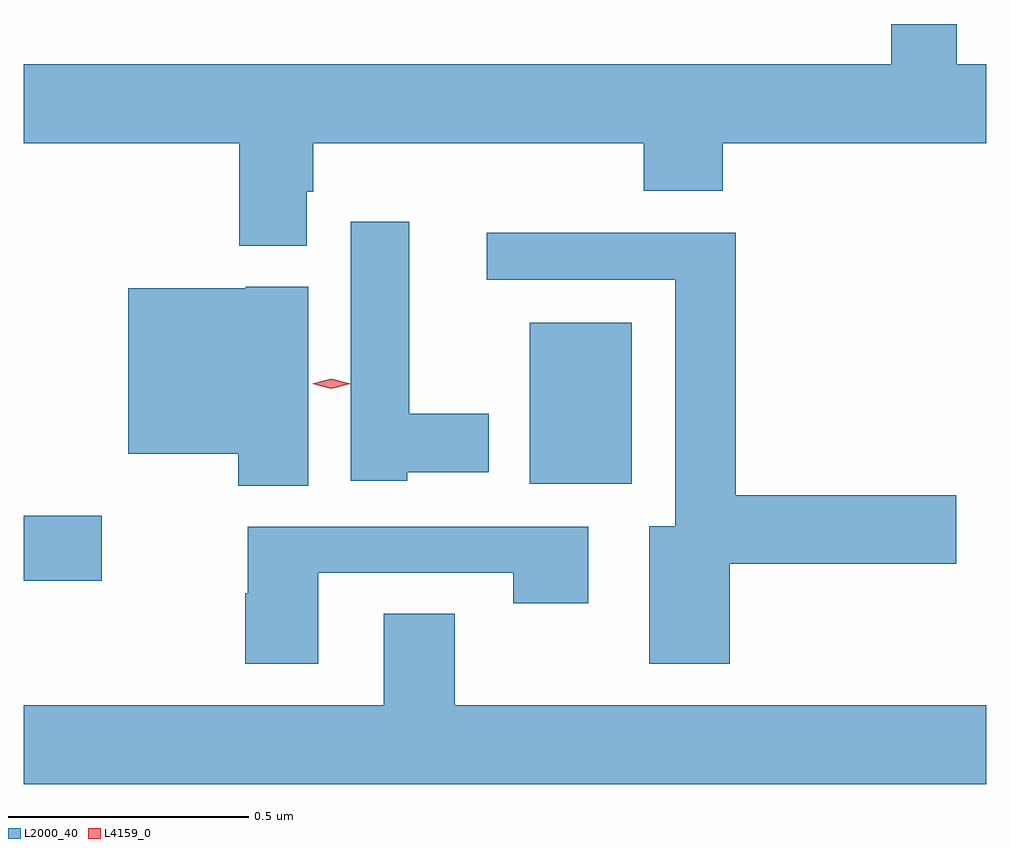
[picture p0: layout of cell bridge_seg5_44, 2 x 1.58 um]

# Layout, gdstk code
import gdstk
lib = gdstk.Library(unit=1e-6, precision=1e-09)
def R(c, l, rs):  # rectangles x0, y0, x1, y1
    for r in rs: c.add(gdstk.rectangle(r[:2], r[2:], *l))
def P(c, l, *ps):  # polygons
    for p in ps: c.add(gdstk.Polygon(p, *l))
L2000_40 = (2000, 40)
L4159_0 = (4159, 0)

bridge_seg5_44 = lib.new_cell('bridge_seg5_44')
R(bridge_seg5_44, L2000_40, [(639.985,838.535,640.147,838.67), (641.036,838.736,641.248,839.071)])
P(bridge_seg5_44, L2000_40, [(640.573,839.343),(640.586,839.343),(640.586,839.444),(641.273,839.444),(641.273,839.345),(641.438,839.345),(641.438,839.444),(641.985,839.444),(641.985,839.608),(641.924,839.608),(641.924,839.692),(641.788,839.692),(641.788,839.608),(639.985,839.608),(639.985,839.444),(640.433,839.444),(640.433,839.231),(640.573,839.231)],
  [(640.782,838.76),(640.951,838.76),(640.951,838.882),(640.786,838.882),(640.786,839.281),(640.664,839.281),(640.664,838.742),(640.782,838.742)],
  [(641.452,838.57),(641.923,838.57),(641.923,838.712),(641.465,838.712),(641.465,839.258),(640.947,839.258),(640.947,839.16),(641.339,839.16),(641.339,838.648),(641.285,838.648),(641.285,838.362),(641.452,838.362)],
  [(640.576,839.146),(640.446,839.146),(640.446,839.143),(640.202,839.143),(640.202,838.799),(640.43,838.799),(640.43,838.732),(640.576,838.732)],
  [(640.597,838.551),(641.002,838.551),(641.002,838.488),(641.158,838.488),(641.158,838.647),(640.45,838.647),(640.45,838.509),(640.445,838.509),(640.445,838.362),(640.597,838.362)],
  [(641.985,838.276),(640.881,838.276),(640.881,838.466),(640.733,838.466),(640.733,838.276),(639.985,838.276),(639.985,838.112),(641.985,838.112)])
P(bridge_seg5_44, L4159_0, [(640.624,838.934),(640.584,838.944),(640.584,838.944),(640.584,838.944),(640.624,838.954),(640.664,838.944),(640.664,838.944),(640.664,838.944)])

lib.write_gds('bridge_seg5_44.gds')
